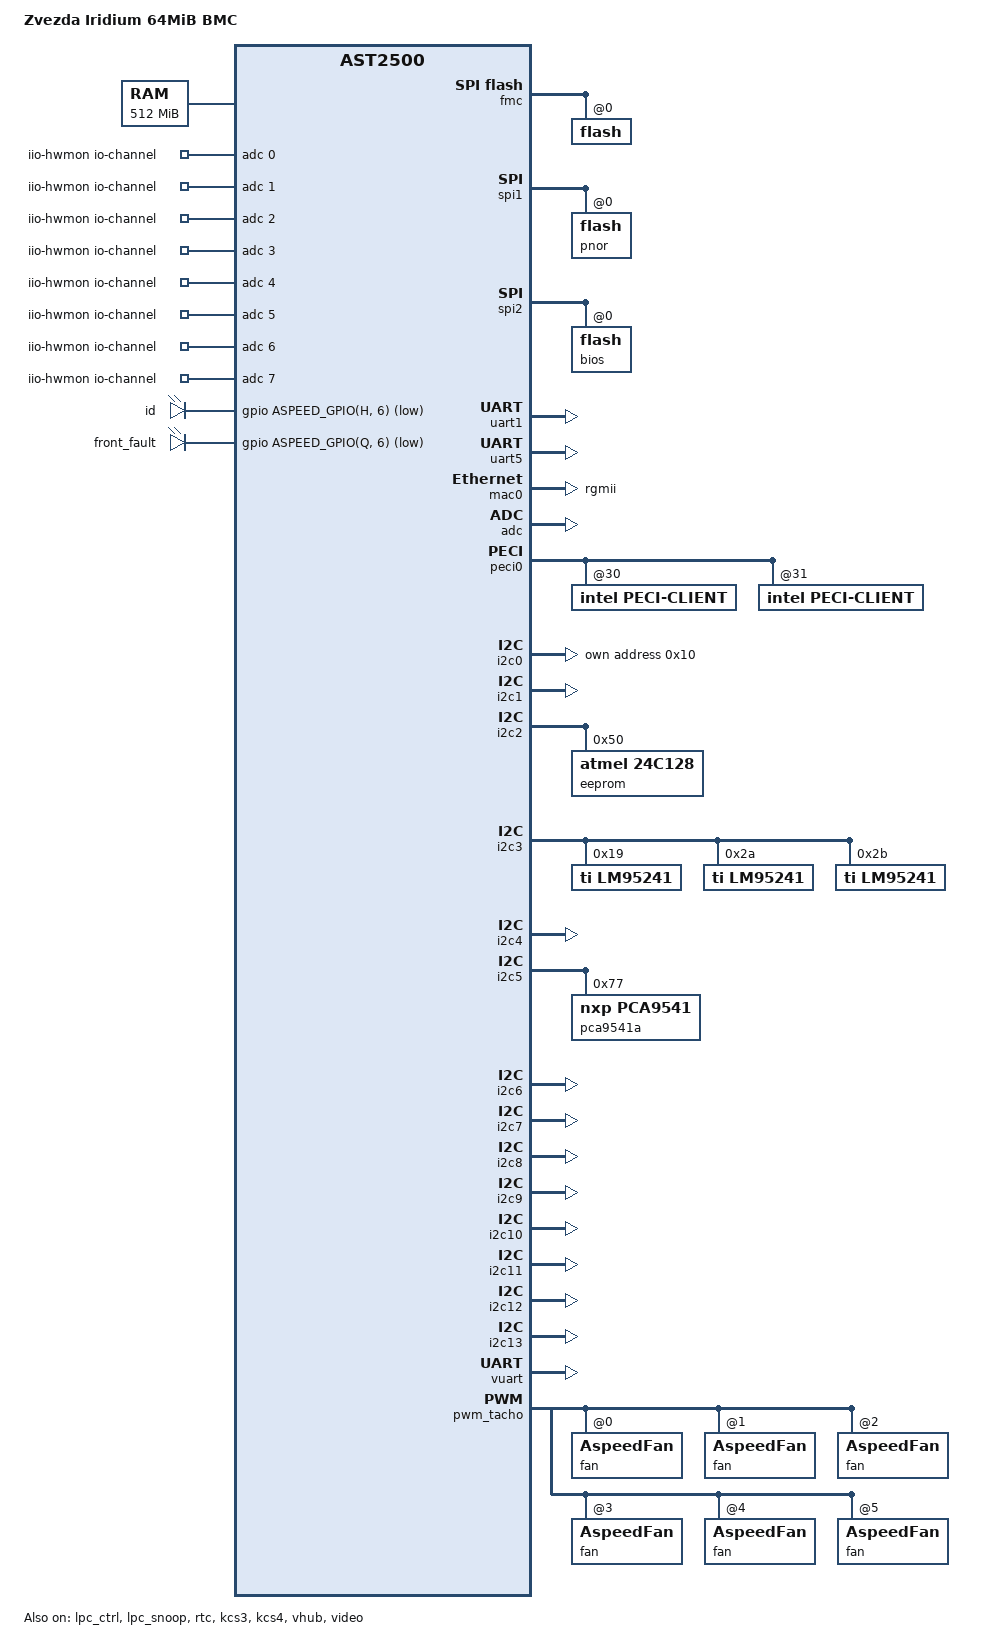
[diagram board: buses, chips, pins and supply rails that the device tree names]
// SPDX-License-Identifier: GPL-2.0+
/dts-v1/;
#include "aspeed-g5.dtsi"
#include <dt-bindings/gpio/aspeed-gpio.h>
#include <dt-bindings/i2c/i2c.h>

/ {
	model = "Zvezda Iridium 64MiB BMC";
	compatible = "zvezda,iridium64-bmc", "aspeed,ast2500";

	aliases {
		serial0 = &uart1;
		serial4 = &uart5;
	};

	chosen {
		stdout-path = &uart5;
		bootargs = "console=ttyS4,115200 earlyprintk";
	};

	memory@80000000 {
		reg = <0x80000000 0x20000000>;
	};

  reserved-memory {
        #address-cells = <1>;
        #size-cells = <1>;
        ranges;
		
		flash_memory: region@98000000 {
				no-map;
				reg = <0x98000000 0x04000000>; /* 64M */
		};

        vga_memory: framebuffer@9f000000 {
				no-map;
				reg = <0x9f000000 0x01000000>; /* 16M */
		};

        gfx_memory: framebuffer {
				size = <0x01000000>;
				alignment = <0x01000000>;
				compatible = "shared-dma-pool";
				reusable;
        };

        video_engine_memory: jpegbuffer {
                size = <0x02000000>;    /* 32M */
                alignment = <0x01000000>;
                compatible = "shared-dma-pool";
                reusable;
                };
        };

        iio-hwmon {
               compatible = "iio-hwmon";
		io-channels = <&adc 0>, <&adc 1>, <&adc 2>, <&adc 3>,
		              <&adc 4>, <&adc 5>, <&adc 6>, <&adc 7>,
		              <&adc 8>, <&adc 9>, <&adc 10>, <&adc 11>,
		              <&adc 12>, <&adc 13>, <&adc 14>, <&adc 15>;
	};
	
//	iio-hwmon-12v {
//		compatible = "iio-hwmon";
//		io-channels = <&adc 0>;
//	};
//
//	iio-hwmon-5v {
//		compatible = "iio-hwmon";
//		io-channels = <&adc 1>;
//	};
//
//	iio-hwmon-3v {
//		compatible = "iio-hwmon";
//		io-channels = <&adc 2>;
//	};
//
//	iio-hwmon-pvccin-cpu1 {
//		compatible = "iio-hwmon";
//		io-channels = <&adc 3>;
//	};
//
//	iio-hwmon-pvccin-cpu2 {
//		compatible = "iio-hwmon";
//		io-channels = <&adc 4>;
//	};
//
//	iio-hwmon-pvccio-cpu1 {
//		compatible = "iio-hwmon";
//		io-channels = <&adc 5>;
//	};
//
//	iio-hwmon-pvccio-cpu2 {
//		compatible = "iio-hwmon";
//		io-channels = <&adc 6>;
//	};
//	
//	iio-hwmon-vbat {
//		compatible = "iio-hwmon";
//		io-channels = <&adc 7>;
//	};
//
//	iio-hwmon-pvddq-abcd-cpu1 {
//		compatible = "iio-hwmon";
//		io-channels = <&adc 8>;
//	};
//
//	iio-hwmon-pvddq-efgh-cpu1 {
//		compatible = "iio-hwmon";
//		io-channels = <&adc 9>;
//	};
//
//	iio-hwmon-pvddq-abcd-cpu2 {
//		compatible = "iio-hwmon";
//		io-channels = <&adc 10>;
//	};
//
//	iio-hwmon-pvddq-efgh-cpu2 {
//		compatible = "iio-hwmon";
//		io-channels = <&adc 11>;
//	};
//
//	iio-hwmon-p1v05-pch-aux {
//		compatible = "iio-hwmon";
//		io-channels = <&adc 12>;
//	};
//
//	iio-hwmon-pvnn-pch-aux {
//		compatible = "iio-hwmon";
//		io-channels = <&adc 13>;
//	};
//
//	iio-hwmon-p1v8-pch-aux {
//		compatible = "iio-hwmon";
//		io-channels = <&adc 14>;
//	};
//
//	iio-hwmon-pgppa-aux {
//		compatible = "iio-hwmon";
//		io-channels = <&adc 15>;
//	};

	leds {
		compatible = "gpio-leds";

		enclosure_identify {
			label = "id";
			default-state = "off";
			gpios = <&gpio ASPEED_GPIO(H, 6) GPIO_ACTIVE_LOW>;
		};

		enclosure_fault {
			label = "front_fault";
			default-state = "off";
			gpios = <&gpio ASPEED_GPIO(Q, 6) GPIO_ACTIVE_LOW>;
		};

	};
};

&fmc {
	status = "okay";
	flash@0 {
		status = "okay";
		m25p,fast-read;
#include "openbmc-flash-layout-64.dtsi"
	};
};

&spi1 {
	status = "okay";
	pinctrl-names = "default";
	pinctrl-0 = <&pinctrl_spi1_default>;
	flash@0 {
		status = "okay";
		m25p,fast-read;
		label = "pnor";
	};
};

&spi2 {
	status = "okay";
	pinctrl-names = "default";
	pinctrl-0 = <&pinctrl_spi2ck_default
			&pinctrl_spi2miso_default
			&pinctrl_spi2mosi_default
			&pinctrl_spi2cs0_default>;
	flash@0 {
		status = "okay";
		label = "bios";
		m25p,fast-read;
	};
};


&lpc_ctrl {
	status = "okay";
	memory-region = <&flash_memory>;
	flash = <&spi1>;
};

&lpc_snoop {
	status = "okay";
	snoop-ports = <0x80>;
};

&rtc {
	status = "okay";
};

&uart1 {
	status = "okay";
	pinctrl-names = "default";
	pinctrl-0 = <&pinctrl_txd1_default
		     &pinctrl_rxd1_default>;
};

&uart5 {
	status = "okay";
};

&gpio {
	status = "okay";
	gpio-line-names =
	/*A0-A7*/	"","","","","","","","",
	/*B0-B7*/	"","","","","","","","",
	/*C0-C7*/	"","","","","","","","",
	/*D0-D7*/	"POWER_BUTTON","POWER_OUT","RESET_BUTTON","RESET_OUT","NMI_BUTTON","NMI_OUT","PS_PWROK","",
	/*E0-E7*/	"","","","","","","","",
	/*F0-F7*/	"","","","_SW_SELECT","","","","",
	/*G0-G7*/	"","","","","","","","",
	/*H0-H7*/	"","","","","ID_BUTTON","","UID_LED","",
	/*I0-I7*/	"","","","","","","","",
	/*J0-J7*/	"","","","","","","","",
	/*K0-K7*/	"","","","","","","","",
	/*L0-L7*/	"","","","","","","","",
	/*M0-M7*/	"","","","","","","","",
	/*N0-N7*/	"","","","","","","","",
	/*O0-O7*/	"","","","","","","","",
	/*P0-P7*/	"","","","","","","","",
	/*Q0-Q7*/	"","","","","","","","",
	/*R0-R7*/	"","","","","","","","",
	/*S0-S7*/	"","","","","","","","",
	/*T0-T7*/	"","","","","","","","",
	/*U0-U7*/	"","","","","","","","",
	/*V0-V7*/	"","","","","","","","",
	/*W0-W7*/	"","","","","","","","",
	/*X0-X7*/	"","","","","","","","",
	/*Y0-Y7*/	"SIO_S3","SIO_S5","","VBAT_VSEN8","","","","",
	/*Z0-Z7*/	"","SIO_POWER_GOOD","","","","","","",
	/*AA0-AA7*/	"","","","","","","","",
	/*AB0-AB7*/	"POST_COMPLETE","CHASSIS_INTRUSION","","","","","","",
	/*AC0-AC7*/	"","","","","","","","";
};

&mac0 {
	status = "okay";

	pinctrl-names = "default";
	pinctrl-0 = <&pinctrl_rgmii1_default &pinctrl_mdio1_default>;
	phy-mode = "rgmii";
};

&mac1 {
//	status = "okay"; //Deleted because of bugs of WebUI with two and more LANs

	pinctrl-names = "default";
	pinctrl-0 = <&pinctrl_rgmii2_default>;
	use-ncsi;
};

&adc {
	status = "okay";
};

&peci0 {
    status = "okay";
    peci-client@30 {
        compatible = "intel,peci-client";
        reg = <0x30>;
    };
    peci-client@31 {
        compatible = "intel,peci-client";
        reg = <0x31>;
    };
};

&i2c0 {
	status = "okay";
	ipmb0@10 {
		compatible = "ipmb-dev";
		reg = <(0x10 | I2C_OWN_SLAVE_ADDRESS)>;
		i2c-protocol;
	};

};

&i2c1 {
	status = "okay";
};

&i2c2 {
	status = "okay";
	eeprom@50 {
		compatible = "atmel,24c128";
		reg = <0x50>;
	};
};

&i2c3 {
        status = "okay";
        lm95241@19 {
                compatible = "ti,lm95241";
                reg = <0x19>;
        };

        lm95241@2a {
                compatible = "ti,lm95241";
                reg = <0x2a>;
        };

        lm95241@2b {
                compatible = "ti,lm95241";
                reg = <0x2b>;
        };
};

&i2c4 {
        status = "okay";
};

&i2c5 {
	status = "okay";
	pca9541a@77 {
        	compatible = "nxp,pca9541";
        	reg = <0x77>;
		
		i2c-arb {
			#address-cells = <1>;
			#size-cells = <0>;
			reg = <0>;
			
//			psu@58 {
//				compatible = "pmbus";
//				reg = <0x58>;
//			};
//			
//			psu@59 {
//				compatible = "pmbus";
//				reg = <0x59>;
//			};			
		};
    };
};

&i2c6 {
	status = "okay";
};

&i2c7 {
	status = "okay";
};

&i2c8 {
	status = "okay";
};

&i2c9 {
	status = "okay";
};

&i2c10 {
	status = "okay";
};

&i2c11 {
	status = "okay";
};

&i2c12 {
	status = "okay";
};

&i2c13 {
	status = "okay";
};

&vuart {
        status = "okay";
        aspeed,sirq-active-high;
};

&kcs3 {
	aspeed,lpc-io-reg = <0xCA2>;
	status = "okay";
};

&kcs4 {
	aspeed,lpc-io-reg = <0xCA4>;
	status = "okay";
};

&vhub {
        status = "okay";
};

&video {
        status = "okay";
        memory-region = <&video_engine_memory>;
};

&pwm_tacho {
	status = "okay";
	pinctrl-names = "default";
	pinctrl-0 = <&pinctrl_pwm0_default
				&pinctrl_pwm1_default
				&pinctrl_pwm2_default
				&pinctrl_pwm3_default
				&pinctrl_pwm4_default
				&pinctrl_pwm5_default>;

	fan@0 {
		compatible = "AspeedFan";
		reg = <0x00>;
		aspeed,fan-tach-ch = /bits/ 8 <0x00>;
	};

	fan@1 {
		compatible = "AspeedFan";
		reg = <0x01>;
		aspeed,fan-tach-ch = /bits/ 8 <0x01>;
	};

	fan@2 {
		compatible = "AspeedFan";
		reg = <0x02>;
		aspeed,fan-tach-ch = /bits/ 8 <0x02>;
	};

	fan@3 {
		compatible = "AspeedFan";
		reg = <0x03>;
		aspeed,fan-tach-ch = /bits/ 8 <0x03>;
	};

	fan@4 {
		compatible = "AspeedFan";
		reg = <0x04>;
		aspeed,fan-tach-ch = /bits/ 8 <0x04>;
	};

	fan@5 {
		compatible = "AspeedFan";
		reg = <0x05>;
		aspeed,fan-tach-ch = /bits/ 8 <0x05>;
	};
};
